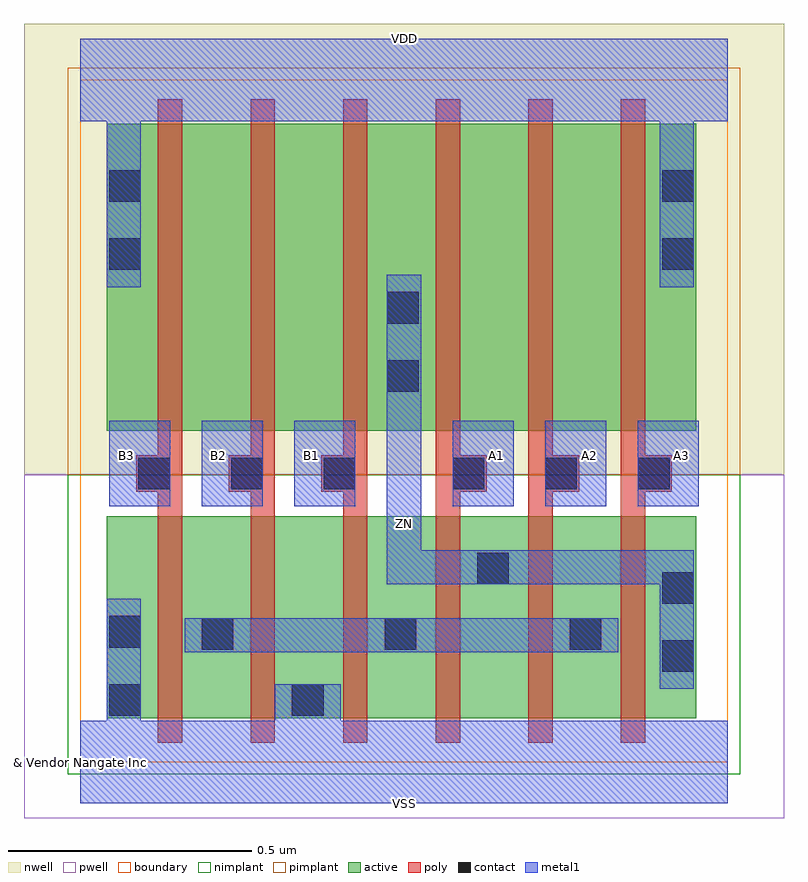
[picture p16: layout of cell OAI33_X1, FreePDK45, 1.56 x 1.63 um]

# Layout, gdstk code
import gdstk
lib = gdstk.Library(unit=1e-6, precision=1e-10)
def R(c, l, rs):  # rectangles x0, y0, x1, y1
    for r in rs: c.add(gdstk.rectangle(r[:2], r[2:], *l))
def A(c, l, x, y, w, h, nx, ny, dx, dy):  # array of equal rectangles
    R(c, l, [(x+i*dx, y+j*dy, x+i*dx+w, y+j*dy+h) for i in range(nx) for j in range(ny)])
def P(c, l, *ps):  # polygons
    for p in ps: c.add(gdstk.Polygon(p, *l))
active = (1, 0)
pwell = (2, 0)
nwell = (3, 0)
nimplant = (4, 0)
pimplant = (5, 0)
poly = (9, 0)
contact = (10, 0)
metal1 = (11, 0)
boundary = (235, 0)

oai33_x1 = lib.new_cell('OAI33_X1')
R(oai33_x1, active, [(0.055,0.09,1.265,0.505), (0.055,0.68,1.265,1.31)])
R(oai33_x1, pwell, [(-0.115,-0.115,1.445,0.59)])
R(oai33_x1, nwell, [(-0.115,0.59,1.445,1.515)])
R(oai33_x1, nimplant, [(-0.025,-0.025,1.355,0.59)])
R(oai33_x1, pimplant, [(-0.025,0.59,1.355,1.425)])
P(oai33_x1, poly, [(0.16,0.04),(0.16,0.555),(0.115,0.555),(0.115,0.63),(0.16,0.63),(0.16,1.36),(0.21,1.36),(0.21,0.04)],
  [(0.35,0.04),(0.35,0.555),(0.305,0.555),(0.305,0.63),(0.35,0.63),(0.35,1.36),(0.4,1.36),(0.4,0.04)],
  [(0.54,0.04),(0.54,0.555),(0.495,0.555),(0.495,0.63),(0.54,0.63),(0.54,1.36),(0.59,1.36),(0.59,0.04)],
  [(0.73,0.04),(0.73,1.36),(0.78,1.36),(0.78,0.63),(0.835,0.63),(0.835,0.555),(0.78,0.555),(0.78,0.04)],
  [(0.92,0.04),(0.92,1.36),(0.97,1.36),(0.97,0.63),(1.025,0.63),(1.025,0.555),(0.97,0.555),(0.97,0.04)],
  [(1.11,0.04),(1.11,1.36),(1.16,1.36),(1.16,0.63),(1.215,0.63),(1.215,0.555),(1.16,0.555),(1.16,0.04)])
A(oai33_x1, contact, 0.12, 0.56, 0.065, 0.065, 3, 1, 0.19, 0)
A(oai33_x1, contact, 0.765, 0.56, 0.065, 0.065, 3, 1, 0.19, 0)
R(oai33_x1, contact, [(0.06,0.095,0.125,0.16), (0.435,0.095,0.5,0.16), (1.195,0.185,1.26,0.25), (0.25,0.23,0.315,0.295), (0.625,0.23,0.69,0.295), (1.005,0.23,1.07,0.295), (0.06,0.235,0.125,0.3), (1.195,0.325,1.26,0.39), (0.815,0.365,0.88,0.43), (0.63,0.76,0.695,0.825), (0.63,0.9,0.695,0.965), (0.06,1.01,0.125,1.075), (1.195,1.01,1.26,1.075), (0.06,1.15,0.125,1.215), (1.195,1.15,1.26,1.215)])
A(oai33_x1, metal1, 0.06, 0.525, 0.125, 0.175, 3, 1, 0.19, 0)
A(oai33_x1, metal1, 0.765, 0.525, 0.125, 0.175, 3, 1, 0.19, 0)
R(oai33_x1, metal1, [(0.215,0.225,1.105,0.295)])
P(oai33_x1, metal1, [(1.19,0.15),(1.19,0.365),(0.63,0.365),(0.63,1),(0.7,1),(0.7,0.435),(1.26,0.435),(1.26,0.15)],
  [(0,-0.085),(0,0.085),(0.055,0.085),(0.055,0.335),(0.125,0.335),(0.125,0.085),(0.4,0.085),(0.4,0.16),(0.535,0.16),(0.535,0.085),(1.33,0.085),(1.33,-0.085)],
  [(0.055,0.975),(0.055,1.315),(0,1.315),(0,1.485),(1.33,1.485),(1.33,1.315),(1.26,1.315),(1.26,0.975),(1.19,0.975),(1.19,1.315),(0.125,1.315),(0.125,0.975)])
R(oai33_x1, boundary, [(0,0,1.33,1.4)])
oai33_x1.add(gdstk.Label('A1', (0.855,0.63), layer=11, texttype=0))
oai33_x1.add(gdstk.Label('A2', (1.045,0.63), layer=11, texttype=0))
oai33_x1.add(gdstk.Label('A3', (1.235,0.63), layer=11, texttype=0))
oai33_x1.add(gdstk.Label('B1', (0.475,0.63), layer=11, texttype=0))
oai33_x1.add(gdstk.Label('B2', (0.285,0.63), layer=11, texttype=0))
oai33_x1.add(gdstk.Label('B3', (0.095,0.63), layer=11, texttype=0))
oai33_x1.add(gdstk.Label('VDD', (0.665,1.485), layer=11, texttype=0))
oai33_x1.add(gdstk.Label('VSS', (0.665,-0.085), layer=11, texttype=0))
oai33_x1.add(gdstk.Label('ZN', (0.665,0.49), layer=11, texttype=0))
oai33_x1.add(gdstk.Label('& Vendor Nangate Inc', (0,0), layer=63, texttype=63))
oai33_x1.add(gdstk.Label('& Product Open Cell Library', (0,0), layer=63, texttype=63))
oai33_x1.add(gdstk.Label('& Version 2010_12', (0,0), layer=63, texttype=63))
oai33_x1.add(gdstk.Label('& Instance OAI33_X1', (0,0), layer=63, texttype=63))

lib.write_gds('OAI33_X1.gds')
